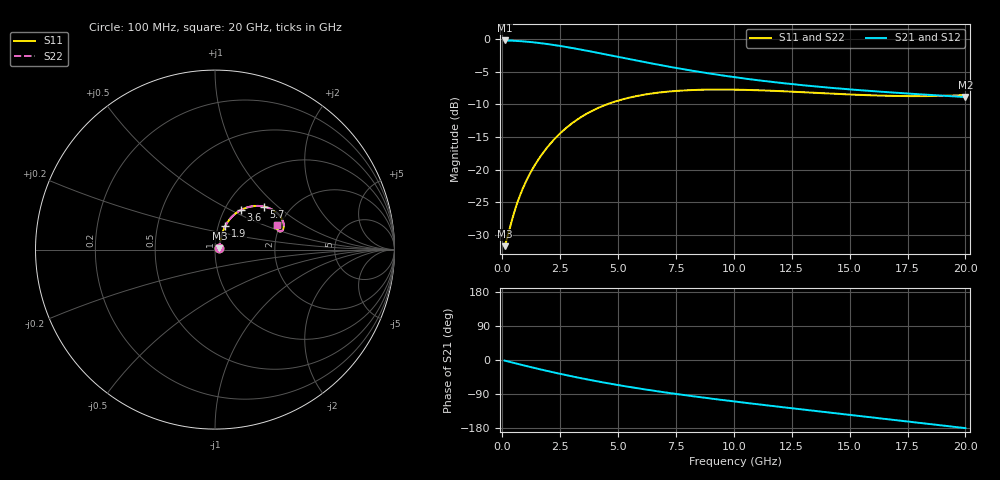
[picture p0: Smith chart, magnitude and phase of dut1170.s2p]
! Touchstone file exported from HFSS 2024.1.0
!  File:  C:/UserFiles/LocalFiles/RDL_TSV_Batchsim/temp_RDL_TSV_1170_1780123181.aedt
!  Generated:  02:55:36 PM May 30, 2026
!  Design:  RDL_TSV
!  Project:  temp_RDL_TSV_1170_1780123181
!  Setup:  Setup1
!  Solution:  Sweep
! Variables:
!  dtsv = 5.47um
!  hbump = 3um
!  htsv = 89.66um
!  ldown = 272.52um
!  lrdl = 372.15um
!  p = 40
!  p1 = 57.55um
!  rhole = 10um
!  subl = 2306.16um
!  t = 450um
!  tdown = 2.84um
!  trdl = 2.18um
!  viad = 10um
!  wdown = 13.78um
!  wrdl = 15.38um
!  xbump = 18um
# GHz S MA R 50.000000
! Terminal data exported
! Port[1] = TM1_1_T1
! Port[2] = TM1_4_T1
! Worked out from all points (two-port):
!   200 points, 100 MHz to 20 GHz, reference 50 ohm
!   highest |S21| = -0.22 dB at 100 MHz (marker M1); lowest = -8.9 dB at 20 GHz (marker M2)
!   |S21| within 3 dB of the highest: start of sweep to 5.69 GHz
!   lowest |S11| = -31.7 dB at 100 MHz (marker M3), VSWR 1.05, Z = 52.5 + j0.791 ohm
!   |S11| at or under -10 dB: start of sweep to 4.531 GHz
!   |S22| runs from -31.7 to -7.7 dB; largest |S21 - S12| = 1.5e-14
!   S11 on the Smith chart (normalised r, x): 100 MHz: 1.05, +0.02; 1.9 GHz: 1.08, +0.29; 3.6 GHz: 1.19, +0.57; 5.7 GHz: 1.48, +0.82; 20 GHz: 1.94, +0.61
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0.1  0.02586 16.9  0.9752 -1.6  0.9752 -1.6  0.02586 16.9
! Gamma 0 0 0 0
! Port Impedance 50 0 50 0
0.2  0.02931 30.7  0.9744 -3.1  0.9744 -3.1  0.02931 30.7
0.4  0.03989 47.8  0.9716 -6.2  0.9716 -6.2  0.03989 47.8
0.6  0.05242 56.3  0.9676 -9.3  0.9676 -9.3  0.05242 56.4
0.9  0.07246 62.7  0.9594 -13.8  0.9594 -13.8  0.07246 62.7
1.1  0.08634 64.9  0.9528 -16.8  0.9528 -16.8  0.08634 64.9
1.4  0.1078 66.5  0.9411 -21.2  0.9411 -21.2  0.1078 66.5
1.9  0.1447 66.5  0.9177 -28.3  0.9177 -28.3  0.1448 66.5
2.6  0.1967 63.5  0.8789 -37.9  0.8789 -37.9  0.1967 63.5
3.5  0.2585 57.4  0.8234 -49.2  0.8234 -49.2  0.2585 57.4
3.6  0.2648 56.6  0.8171 -50.4  0.8171 -50.4  0.2648 56.6
4.6  0.3195 49.1  0.7544 -61.9  0.7544 -61.9  0.3197 49.1
5.7  0.3625 41.4  0.6898 -73.2  0.6898 -73.2  0.3627 41.4
6.8  0.3895 34.7  0.6327 -83.5  0.6327 -83.5  0.3898 34.7
8.3  0.4071 27.4  0.568 -96.1  0.568 -96.1  0.4074 27.4
10.1  0.4091 21.1  0.5082 -110.0  0.5082 -110.0  0.4095 21.2
11.7  0.401 17.6  0.4681 -121.6  0.4681 -121.6  0.4014 17.6
13.4  0.388 15.7  0.4354 -133.6  0.4354 -133.6  0.3884 15.7
15  0.3759 15.5  0.4113 -144.7  0.4113 -144.7  0.3763 15.5
16.7  0.3671 16.7  0.3908 -156.6  0.3908 -156.6  0.3674 16.8
18.3  0.3654 18.8  0.3745 -167.8  0.3745 -167.8  0.3657 18.9
20  0.3722 21.3  0.3593 -179.8  0.3593 -179.8  0.3725 21.3
